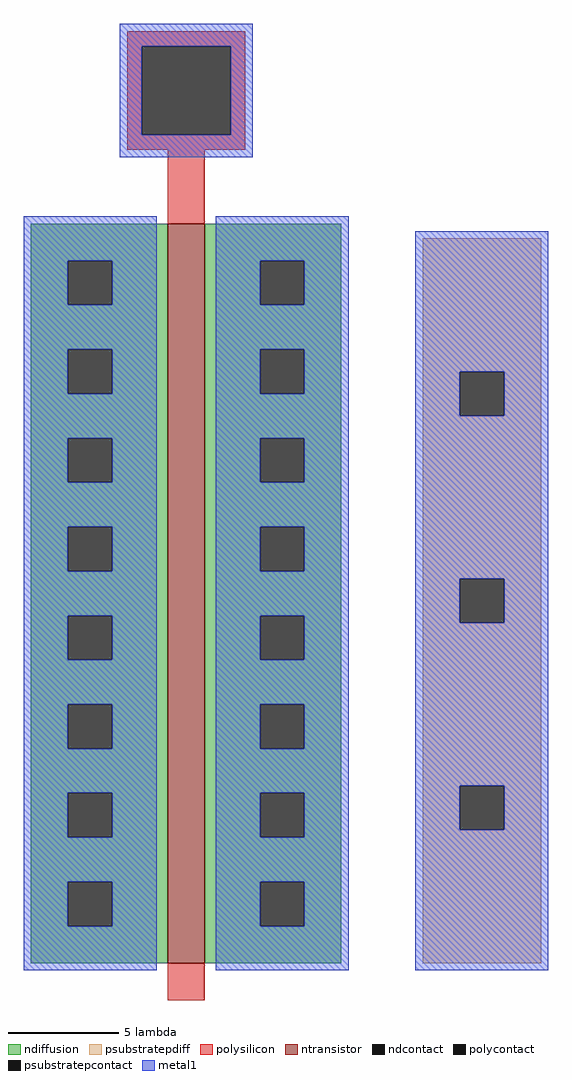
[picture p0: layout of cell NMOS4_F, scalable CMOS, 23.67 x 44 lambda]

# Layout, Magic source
magic
tech scmos
magscale 1 6
<< ntransistor >>
rect 49 14 59 214
<< ndiffusion >>
rect 12 204 49 214
rect 12 192 22 204
rect 34 192 49 204
rect 12 180 49 192
rect 12 168 22 180
rect 34 168 49 180
rect 12 156 49 168
rect 12 144 22 156
rect 34 144 49 156
rect 12 132 49 144
rect 12 120 22 132
rect 34 120 49 132
rect 12 108 49 120
rect 12 96 22 108
rect 34 96 49 108
rect 12 84 49 96
rect 12 72 22 84
rect 34 72 49 84
rect 12 60 49 72
rect 12 48 22 60
rect 34 48 49 60
rect 12 36 49 48
rect 12 24 22 36
rect 34 24 49 36
rect 12 14 49 24
rect 59 204 96 214
rect 59 192 74 204
rect 86 192 96 204
rect 59 180 96 192
rect 59 168 74 180
rect 86 168 96 180
rect 59 156 96 168
rect 59 144 74 156
rect 86 144 96 156
rect 59 132 96 144
rect 59 120 74 132
rect 86 120 96 132
rect 59 108 96 120
rect 59 96 74 108
rect 86 96 96 108
rect 59 84 96 96
rect 59 72 74 84
rect 86 72 96 84
rect 59 60 96 72
rect 59 48 74 60
rect 86 48 96 60
rect 59 36 96 48
rect 59 24 74 36
rect 86 24 96 36
rect 59 14 96 24
<< ndcontact >>
rect 22 192 34 204
rect 22 168 34 180
rect 22 144 34 156
rect 22 120 34 132
rect 22 96 34 108
rect 22 72 34 84
rect 22 48 34 60
rect 22 24 34 36
rect 74 192 86 204
rect 74 168 86 180
rect 74 144 86 156
rect 74 120 86 132
rect 74 96 86 108
rect 74 72 86 84
rect 74 48 86 60
rect 74 24 86 36
<< psubstratepdiff >>
rect 118 174 150 210
rect 118 162 128 174
rect 140 162 150 174
rect 118 118 150 162
rect 118 106 128 118
rect 140 106 150 118
rect 118 62 150 106
rect 118 50 128 62
rect 140 50 150 62
rect 118 14 150 50
<< psubstratepcontact >>
rect 128 162 140 174
rect 128 106 140 118
rect 128 50 140 62
<< polysilicon >>
rect 38 262 70 266
rect 38 238 42 262
rect 66 238 70 262
rect 38 234 70 238
rect 49 214 59 234
rect 49 4 59 14
<< polycontact >>
rect 42 238 66 262
<< metal1 >>
rect 36 262 72 268
rect 36 238 42 262
rect 66 238 72 262
rect 36 232 72 238
rect 10 204 46 216
rect 10 192 22 204
rect 34 192 46 204
rect 10 180 46 192
rect 10 168 22 180
rect 34 168 46 180
rect 10 156 46 168
rect 10 144 22 156
rect 34 144 46 156
rect 10 132 46 144
rect 10 120 22 132
rect 34 120 46 132
rect 10 108 46 120
rect 10 96 22 108
rect 34 96 46 108
rect 10 84 46 96
rect 10 72 22 84
rect 34 72 46 84
rect 10 60 46 72
rect 10 48 22 60
rect 34 48 46 60
rect 10 36 46 48
rect 10 24 22 36
rect 34 24 46 36
rect 10 12 46 24
rect 62 204 98 216
rect 62 192 74 204
rect 86 192 98 204
rect 62 180 98 192
rect 62 168 74 180
rect 86 168 98 180
rect 62 156 98 168
rect 62 144 74 156
rect 86 144 98 156
rect 62 132 98 144
rect 62 120 74 132
rect 86 120 98 132
rect 62 108 98 120
rect 62 96 74 108
rect 86 96 98 108
rect 62 84 98 96
rect 62 72 74 84
rect 86 72 98 84
rect 62 60 98 72
rect 62 48 74 60
rect 86 48 98 60
rect 62 36 98 48
rect 62 24 74 36
rect 86 24 98 36
rect 62 12 98 24
rect 116 174 152 212
rect 116 162 128 174
rect 140 162 152 174
rect 116 118 152 162
rect 116 106 128 118
rect 140 106 152 118
rect 116 62 152 106
rect 116 50 128 62
rect 140 50 152 62
rect 116 12 152 50
<< end >>
